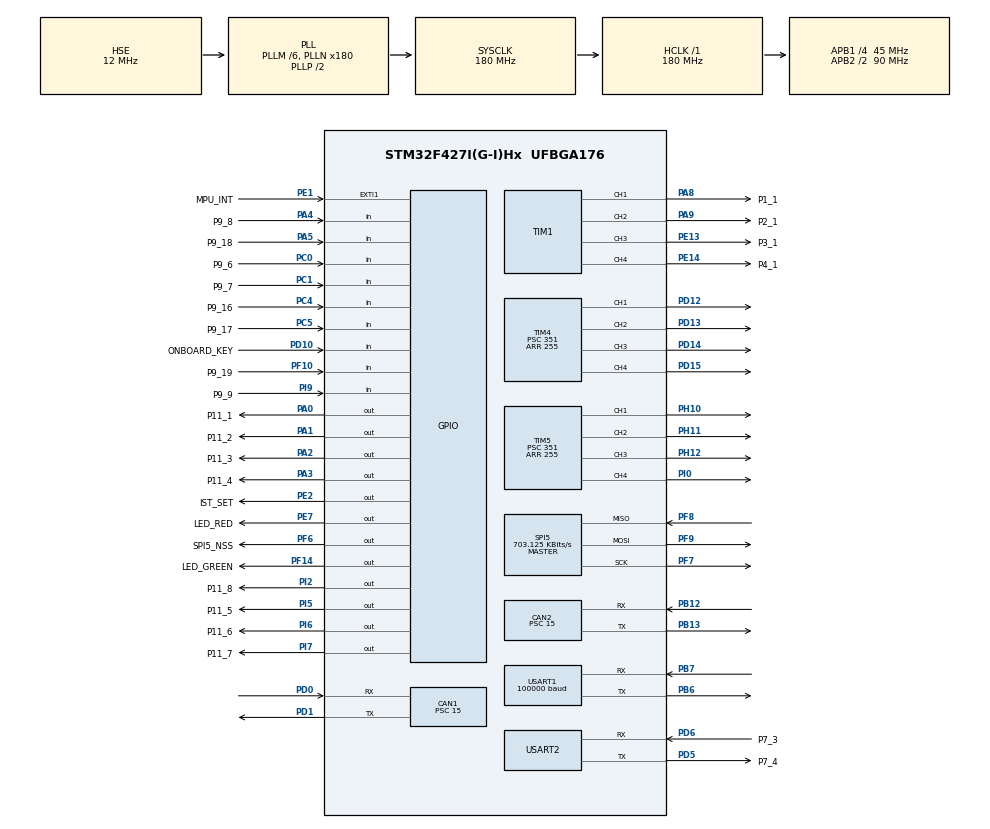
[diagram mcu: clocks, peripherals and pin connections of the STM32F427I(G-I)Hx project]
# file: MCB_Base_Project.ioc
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CAN1.AutoBusOff=ENABLE
CAN1.CalculateTimeBit=1000
CAN1.CalculateTimeQuantum=333.3333333333333
CAN1.Prescaler=15
CAN1.TimeSeg1=CAN_BS1_3TQ
CAN1.TimeSeg2=CAN_BS2_5TQ
CAN1.TransmitFifoPriority=DISABLE
CAN2.AutoBusOff=ENABLE
CAN2.CalculateTimeBit=1000
CAN2.CalculateTimeQuantum=333.3333333333333
CAN2.Prescaler=15
CAN2.TimeSeg1=CAN_BS1_3TQ
CAN2.TimeSeg2=CAN_BS2_5TQ
Dma.Request0=USART2_RX
Dma.Request1=USART1_RX
Dma.Request2=SPI5_RX
Dma.Request3=SPI5_TX
Dma.SPI5_RX.2.Direction=DMA_PERIPH_TO_MEMORY
Dma.SPI5_RX.2.FIFOMode=DMA_FIFOMODE_DISABLE
Dma.SPI5_RX.2.Instance=DMA2_Stream3
Dma.SPI5_RX.2.MemDataAlignment=DMA_MDATAALIGN_BYTE
Dma.SPI5_RX.2.MemInc=DMA_MINC_ENABLE
Dma.SPI5_RX.2.Mode=DMA_NORMAL
Dma.SPI5_RX.2.PeriphDataAlignment=DMA_PDATAALIGN_BYTE
Dma.SPI5_RX.2.PeriphInc=DMA_PINC_DISABLE
Dma.SPI5_RX.2.Priority=DMA_PRIORITY_LOW
Dma.SPI5_TX.3.Direction=DMA_MEMORY_TO_PERIPH
Dma.SPI5_TX.3.FIFOMode=DMA_FIFOMODE_DISABLE
Dma.SPI5_TX.3.Instance=DMA2_Stream4
Dma.SPI5_TX.3.MemDataAlignment=DMA_MDATAALIGN_BYTE
Dma.SPI5_TX.3.MemInc=DMA_MINC_ENABLE
Dma.SPI5_TX.3.Mode=DMA_NORMAL
Dma.SPI5_TX.3.PeriphDataAlignment=DMA_PDATAALIGN_BYTE
Dma.SPI5_TX.3.PeriphInc=DMA_PINC_DISABLE
Dma.SPI5_TX.3.Priority=DMA_PRIORITY_LOW
Dma.USART1_RX.1.Direction=DMA_PERIPH_TO_MEMORY
Dma.USART1_RX.1.FIFOMode=DMA_FIFOMODE_DISABLE
Dma.USART1_RX.1.Instance=DMA2_Stream2
Dma.USART1_RX.1.MemDataAlignment=DMA_MDATAALIGN_BYTE
Dma.USART1_RX.1.MemInc=DMA_MINC_ENABLE
Dma.USART1_RX.1.Mode=DMA_CIRCULAR
Dma.USART1_RX.1.PeriphDataAlignment=DMA_PDATAALIGN_BYTE
Dma.USART1_RX.1.PeriphInc=DMA_PINC_DISABLE
Dma.USART1_RX.1.Priority=DMA_PRIORITY_LOW
Dma.USART2_RX.0.Direction=DMA_PERIPH_TO_MEMORY
Dma.USART2_RX.0.FIFOMode=DMA_FIFOMODE_DISABLE
Dma.USART2_RX.0.Instance=DMA1_Stream5
Dma.USART2_RX.0.MemDataAlignment=DMA_MDATAALIGN_BYTE
Dma.USART2_RX.0.MemInc=DMA_MINC_ENABLE
Dma.USART2_RX.0.Mode=DMA_CIRCULAR
Dma.USART2_RX.0.PeriphDataAlignment=DMA_PDATAALIGN_BYTE
Dma.USART2_RX.0.PeriphInc=DMA_PINC_DISABLE
Dma.USART2_RX.0.Priority=DMA_PRIORITY_LOW
Mcu.Family=STM32F4
Mcu.Name=STM32F427I(G-I)Hx
Mcu.Package=UFBGA176
NVIC.CAN1_RX0_IRQn=true\:0\:0\:false\:false\:true\:true
NVIC.CAN2_RX0_IRQn=true\:0\:0\:false\:false\:true\:true
NVIC.DMA1_Stream5_IRQn=true\:0\:0\:false\:false\:true\:false
NVIC.DMA2_Stream2_IRQn=true\:0\:0\:false\:false\:true\:false
NVIC.DMA2_Stream3_IRQn=true\:0\:0\:false\:false\:true\:false
NVIC.DMA2_Stream4_IRQn=true\:0\:0\:false\:false\:true\:false
NVIC.EXTI1_IRQn=true\:0\:0\:false\:false\:true\:true
NVIC.PriorityGroup=NVIC_PRIORITYGROUP_4
NVIC.TIM6_DAC_IRQn=true\:0\:0\:false\:false\:true\:true
NVIC.USART1_IRQn=true\:0\:0\:false\:false\:true\:true
NVIC.USART2_IRQn=true\:0\:0\:false\:false\:true\:true
PA0/WKUP.GPIO_Label=P11_1
PA0/WKUP.Signal=GPIO_Output
PA1.GPIO_Label=P11_2
PA1.Signal=GPIO_Output
PA2.GPIO_Label=P11_3
PA2.Signal=GPIO_Output
PA3.GPIO_Label=P11_4
PA3.Signal=GPIO_Output
PA4.GPIO_Label=P9_8
PA4.Signal=GPIO_Input
PA5.GPIO_Label=P9_18
PA5.Signal=GPIO_Input
PA8.GPIO_Label=P1_1
PA8.Signal=S_TIM1_CH1
PA9.GPIO_Label=P2_1
PA9.Signal=S_TIM1_CH2
PB12.Mode=Slave
PB12.Signal=CAN2_RX
PB13.Mode=Slave
PB13.Signal=CAN2_TX
PB6.Mode=Asynchronous
PB6.Signal=USART1_TX
PB7.Mode=Asynchronous
PB7.Signal=USART1_RX
PC0.GPIO_Label=P9_6
PC0.Signal=GPIO_Input
PC1.GPIO_Label=P9_7
PC1.Signal=GPIO_Input
PC4.GPIO_Label=P9_16
PC4.Signal=GPIO_Input
PC5.GPIO_Label=P9_17
PC5.Signal=GPIO_Input
PD0.Mode=Master
PD0.Signal=CAN1_RX
PD1.Mode=Master
PD1.Signal=CAN1_TX
PD10.GPIO_Label=ONBOARD_KEY
PD10.Signal=GPIO_Input
PD12.Signal=S_TIM4_CH1
PD13.Signal=S_TIM4_CH2
PD14.Signal=S_TIM4_CH3
PD15.Signal=S_TIM4_CH4
PD5.GPIO_Label=P7_4
PD5.Mode=Asynchronous
PD5.Signal=USART2_TX
PD6.GPIO_Label=P7_3
PD6.Mode=Asynchronous
PD6.Signal=USART2_RX
PE1.GPIO_Label=MPU_INT
PE1.Signal=GPXTI1
PE13.GPIO_Label=P3_1
PE13.Signal=S_TIM1_CH3
PE14.GPIO_Label=P4_1
PE14.Signal=S_TIM1_CH4
PE2.GPIO_Label=IST_SET
PE2.GPIO_PuPd=GPIO_NOPULL
PE2.Signal=GPIO_Output
PE7.GPIO_Label=LED_RED
PE7.Signal=GPIO_Output
PF10.GPIO_Label=P9_19
PF10.Signal=GPIO_Input
PF14.GPIO_Label=LED_GREEN
PF14.Signal=GPIO_Output
PF6.GPIO_Label=SPI5_NSS
PF6.PinState=GPIO_PIN_SET
PF6.Signal=GPIO_Output
PF7.Mode=Full_Duplex_Master
PF7.Signal=SPI5_SCK
PF8.Mode=Full_Duplex_Master
PF8.Signal=SPI5_MISO
PF9.Mode=Full_Duplex_Master
PF9.Signal=SPI5_MOSI
PH0/OSC_IN.Mode=HSE-External-Oscillator
PH0/OSC_IN.Signal=RCC_OSC_IN
PH1/OSC_OUT.Mode=HSE-External-Oscillator
PH1/OSC_OUT.Signal=RCC_OSC_OUT
PH10.Signal=S_TIM5_CH1
PH11.Signal=S_TIM5_CH2
PH12.Signal=S_TIM5_CH3
PI0.Signal=S_TIM5_CH4
PI2.GPIO_Label=P11_8
PI2.Signal=GPIO_Output
PI5.GPIO_Label=P11_5
PI5.Signal=GPIO_Output
PI6.GPIO_Label=P11_6
PI6.Signal=GPIO_Output
PI7.GPIO_Label=P11_7
PI7.Signal=GPIO_Output
PI9.GPIO_Label=P9_9
PI9.Signal=GPIO_Input
ProjectManager.HeapSize=0x200
ProjectManager.StackSize=0x400
ProjectManager.TargetToolchain=MDK-ARM V5
RCC.48MHZClocksFreq_Value=90000000
RCC.AHBFreq_Value=180000000
RCC.APB1CLKDivider=RCC_HCLK_DIV4
RCC.APB1Freq_Value=45000000
RCC.APB1TimFreq_Value=90000000
RCC.APB2CLKDivider=RCC_HCLK_DIV2
RCC.APB2Freq_Value=90000000
RCC.APB2TimFreq_Value=180000000
RCC.CortexFreq_Value=180000000
RCC.HCLKFreq_Value=180000000
RCC.HSE_VALUE=12000000
RCC.HSI_VALUE=16000000
RCC.LSE_VALUE=32768
RCC.PLLM=6
RCC.PLLN=180
RCC.PLLSourceVirtual=RCC_PLLSOURCE_HSE
RCC.SYSCLKFreq_VALUE=180000000
RCC.SYSCLKSource=RCC_SYSCLKSOURCE_PLLCLK
RCC.VCOOutputFreq_Value=360000000
SH.S_TIM1_CH1.0=TIM1_CH1,PWM Generation1 CH1
SH.S_TIM1_CH2.0=TIM1_CH2,PWM Generation2 CH2
SH.S_TIM1_CH3.0=TIM1_CH3,PWM Generation3 CH3
SH.S_TIM1_CH4.0=TIM1_CH4,PWM Generation4 CH4
SH.S_TIM4_CH1.0=TIM4_CH1,PWM Generation1 CH1
SH.S_TIM4_CH2.0=TIM4_CH2,PWM Generation2 CH2
SH.S_TIM4_CH3.0=TIM4_CH3,PWM Generation3 CH3
SH.S_TIM4_CH4.0=TIM4_CH4,PWM Generation4 CH4
SH.S_TIM5_CH1.0=TIM5_CH1,PWM Generation1 CH1
SH.S_TIM5_CH2.0=TIM5_CH2,PWM Generation2 CH2
SH.S_TIM5_CH3.0=TIM5_CH3,PWM Generation3 CH3
SH.S_TIM5_CH4.0=TIM5_CH4,PWM Generation4 CH4
SPI5.BaudRatePrescaler=SPI_BAUDRATEPRESCALER_128
SPI5.CalculateBaudRate=703.125 KBits/s
SPI5.Direction=SPI_DIRECTION_2LINES
SPI5.Mode=SPI_MODE_MASTER
SPI5.VirtualType=VM_MASTER
TIM1.Channel-PWM\ Generation1\ CH1=TIM_CHANNEL_1
TIM1.Channel-PWM\ Generation2\ CH2=TIM_CHANNEL_2
TIM1.Channel-PWM\ Generation3\ CH3=TIM_CHANNEL_3
TIM1.Channel-PWM\ Generation4\ CH4=TIM_CHANNEL_4
TIM4.Channel-PWM\ Generation1\ CH1=TIM_CHANNEL_1
TIM4.Channel-PWM\ Generation2\ CH2=TIM_CHANNEL_2
TIM4.Channel-PWM\ Generation3\ CH3=TIM_CHANNEL_3
TIM4.Channel-PWM\ Generation4\ CH4=TIM_CHANNEL_4
TIM4.CounterMode=TIM_COUNTERMODE_DOWN
TIM4.Period=255
TIM4.Prescaler=351
TIM5.Channel-PWM\ Generation1\ CH1=TIM_CHANNEL_1
TIM5.Channel-PWM\ Generation2\ CH2=TIM_CHANNEL_2
TIM5.Channel-PWM\ Generation3\ CH3=TIM_CHANNEL_3
TIM5.Channel-PWM\ Generation4\ CH4=TIM_CHANNEL_4
TIM5.CounterMode=TIM_COUNTERMODE_DOWN
TIM5.Period=255
TIM5.Prescaler=351
TIM6.Period=25
TIM6.Prescaler=18000
USART1.BaudRate=100000
USART1.Mode=MODE_RX
USART1.Parity=PARITY_EVEN
USART1.VirtualMode=VM_ASYNC
USART2.VirtualMode=VM_ASYNC
VP_TIM1_VS_ClockSourceINT.Mode=Internal
VP_TIM4_VS_ClockSourceINT.Mode=Internal
VP_TIM5_VS_ClockSourceINT.Mode=Internal
VP_TIM6_VS_ClockSourceINT.Mode=Enable_Timer
board=MCB_Base_Project

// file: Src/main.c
/**
  ******************************************************************************
  * @file           : main.c
  * @brief          : Main program body
  ******************************************************************************
  ** This notice applies to any and all portions of this file
  * that are not between comment pairs USER CODE BEGIN and
  * USER CODE END. Other portions of this file, whether
  * inserted by the user or by software development tools
  * are owned by their respective copyright owners.
  *
  * COPYRIGHT(c) 2018 STMicroelectronics
  *
  * Redistribution and use in source and binary forms, with or without modification,
  * are permitted provided that the following conditions are met:
  *   1. Redistributions of source code must retain the above copyright notice,
  *      this list of conditions and the following disclaimer.
  *   2. Redistributions in binary form must reproduce the above copyright notice,
  *      this list of conditions and the following disclaimer in the documentation
  *      and/or other materials provided with the distribution.
  *   3. Neither the name of STMicroelectronics nor the names of its contributors
  *      may be used to endorse or promote products derived from this software
  *      without specific prior written permission.
  *
  * THIS SOFTWARE IS PROVIDED BY THE COPYRIGHT HOLDERS AND CONTRIBUTORS "AS IS"
  * AND ANY EXPRESS OR IMPLIED WARRANTIES, INCLUDING, BUT NOT LIMITED TO, THE
  * IMPLIED WARRANTIES OF MERCHANTABILITY AND FITNESS FOR A PARTICULAR PURPOSE ARE
  * DISCLAIMED. IN NO EVENT SHALL THE COPYRIGHT HOLDER OR CONTRIBUTORS BE LIABLE
  * FOR ANY DIRECT, INDIRECT, INCIDENTAL, SPECIAL, EXEMPLARY, OR CONSEQUENTIAL
  * DAMAGES (INCLUDING, BUT NOT LIMITED TO, PROCUREMENT OF SUBSTITUTE GOODS OR
  * SERVICES; LOSS OF USE, DATA, OR PROFITS; OR BUSINESS INTERRUPTION) HOWEVER
  * CAUSED AND ON ANY THEORY OF LIABILITY, WHETHER IN CONTRACT, STRICT LIABILITY,
  * OR TORT (INCLUDING NEGLIGENCE OR OTHERWISE) ARISING IN ANY WAY OUT OF THE USE
  * OF THIS SOFTWARE, EVEN IF ADVISED OF THE POSSIBILITY OF SUCH DAMAGE.
  *
  ******************************************************************************
  */
#include "main.h"
#include "stm32f4xx_hal.h"
#include "can.h"
#include "dma.h"
#include "spi.h"
#include "tim.h"
#include "usart.h"
#include "gpio.h"

/* USER CODE BEGIN Includes */
#include "dr16.h"
#include "command.h"
#include "serial.h"
#include "remote.h"
#include "drive.h"
#include "gimbal.h"
#include "string.h"
#include "led.h"
#include "imu.h"
#include "turret.h"
#include "chassis.h"
#include "switch.h"
/* USER CODE END Includes */

/* USER CODE BEGIN PV */
/* Private variables ---------------------------------------------------------*/
#define BLINK_DELAY 500
#define PRINT_DELAY 100
#define MSG_LENGTH 100
/* USER CODE END PV */

void SystemClock_Config(void);

/* USER CODE BEGIN PFP */
/* Private function prototypes -----------------------------------------------*/
static void main_init(void);
static void main_debug(uint32_t *lt, uint32_t *lp) __attribute__((unused));
static void main_command(void) __attribute__((unused));
/* USER CODE END PFP */

int main(void)
{

  /* MCU Configuration----------------------------------------------------------*/

  /* Reset of all peripherals, Initializes the Flash interface and the Systick. */
  HAL_Init();

  /* Configure the system clock */
  SystemClock_Config();

  /* Initialize all configured peripherals */
  MX_GPIO_Init();
  MX_DMA_Init();
  MX_USART1_UART_Init();
  MX_USART2_UART_Init();
  MX_CAN1_Init();
  MX_CAN2_Init();
  MX_TIM6_Init();
  MX_SPI5_Init();
  MX_TIM4_Init();
  MX_TIM5_Init();
  MX_TIM1_Init();
  /* USER CODE BEGIN 2 */
  led_green_off();
  // Initialize backend subsystems
  led_red_on();
  main_init();
  led_red_off();
  HAL_Delay(1000);
  uint32_t last_time = HAL_GetTick();
  uint32_t last_print = HAL_GetTick();

  /* USER CODE END 2 */

  /* Infinite loop */
  /* USER CODE BEGIN WHILE */

  while (1)
  {
    main_debug(&last_time, &last_print);
    /*
    led_red_toggle();
    HAL_Delay(500);
    */
  /* USER CODE END WHILE */

  }

}

void SystemClock_Config(void)
{

  RCC_OscInitTypeDef RCC_OscInitStruct;
  RCC_ClkInitTypeDef RCC_ClkInitStruct;

    /**Configure the main internal regulator output voltage
    */
  __HAL_RCC_PWR_CLK_ENABLE();

  __HAL_PWR_VOLTAGESCALING_CONFIG(PWR_REGULATOR_VOLTAGE_SCALE1);

    /**Initializes the CPU, AHB and APB busses clocks
    */
  RCC_OscInitStruct.OscillatorType = RCC_OSCILLATORTYPE_HSE;
  RCC_OscInitStruct.HSEState = RCC_HSE_ON;
  RCC_OscInitStruct.PLL.PLLState = RCC_PLL_ON;
  RCC_OscInitStruct.PLL.PLLSource = RCC_PLLSOURCE_HSE;
  RCC_OscInitStruct.PLL.PLLM = 6;
  RCC_OscInitStruct.PLL.PLLN = 180;
  RCC_OscInitStruct.PLL.PLLP = RCC_PLLP_DIV2;
  RCC_OscInitStruct.PLL.PLLQ = 4;
  if (HAL_RCC_OscConfig(&RCC_OscInitStruct) != HAL_OK)
  {
    _Error_Handler(__FILE__, __LINE__);
  }

    /**Activate the Over-Drive mode
    */
  if (HAL_PWREx_EnableOverDrive() != HAL_OK)
  {
    _Error_Handler(__FILE__, __LINE__);
  }

    /**Initializes the CPU, AHB and APB busses clocks
    */
  RCC_ClkInitStruct.ClockType = RCC_CLOCKTYPE_HCLK|RCC_CLOCKTYPE_SYSCLK
                              |RCC_CLOCKTYPE_PCLK1|RCC_CLOCKTYPE_PCLK2;
  RCC_ClkInitStruct.SYSCLKSource = RCC_SYSCLKSOURCE_PLLCLK;
  RCC_ClkInitStruct.AHBCLKDivider = RCC_SYSCLK_DIV1;
  RCC_ClkInitStruct.APB1CLKDivider = RCC_HCLK_DIV4;
  RCC_ClkInitStruct.APB2CLKDivider = RCC_HCLK_DIV2;

  if (HAL_RCC_ClockConfig(&RCC_ClkInitStruct, FLASH_LATENCY_5) != HAL_OK)
  {
    _Error_Handler(__FILE__, __LINE__);
  }

    /**Configure the Systick interrupt time
    */
  HAL_SYSTICK_Config(HAL_RCC_GetHCLKFreq()/1000);

    /**Configure the Systick
    */
  HAL_SYSTICK_CLKSourceConfig(SYSTICK_CLKSOURCE_HCLK);

  /* SysTick_IRQn interrupt configuration */
  HAL_NVIC_SetPriority(SysTick_IRQn, 0, 0);
}

/* USER CODE BEGIN 4 */

static void main_init() {
  // clear motor info structs
  drive_init();
  gimbal_init();
  turret_init();
  chassis_init();
  // begin data collection
  can_handle_init(&hcan1);
  can_handle_init(&hcan2);
  dr16_dma_init(&huart1);
  imu_init();
  // Start main task
  tim_start_task(&htim6);
}

static void main_debug(uint32_t *lt, uint32_t *lp) {
  char msg[MSG_LENGTH];
  if (HAL_GetTick() - *lt >= BLINK_DELAY) {
    led_red_toggle();
    *lt = HAL_GetTick();
  }
  if (HAL_GetTick() - *lp >= PRINT_DELAY) {
    //sprintf(msg, "can2 enc: %u\n", drive_get_motor_info(DRIVE_MOTOR_CAN2_201)->enc);
    //serial_print(msg, SERIAL_TX);
    //serial_wait_ready();
   /* sprintf(msg, "pitch enc:%u pitch torque:%d ", gimbal_get_motor_info(GIMBAL_MOTOR_CAN1_206)->enc,
      gimbal_get_motor_info(GIMBAL_MOTOR_CAN1_206)->torque_actual);
    serial_print(msg, SERIAL_TX);
    serial_wait_ready();
    sprintf(msg, "yaw enc:%u yaw torque:%d ", gimbal_get_motor_info(GIMBAL_MOTOR_CAN1_205)->enc,
    gimbal_get_motor_info(GIMBAL_MOTOR_CAN1_205)->torque_actual);
    serial_print(msg, SERIAL_TX);
    serial_wait_ready();
    sprintf(msg, "imu ax:%d ay:%d az:%d ", imu_get_imu()->ax, imu_get_imu()->ay, imu_get_imu()->az);
    serial_print(msg, SERIAL_TX);
    serial_wait_ready();
    sprintf(msg, "remote count:%d\n", dr16_get_remote()->update_counter);
    */

    serial_print_remote_info_t(dr16_get_remote());
    *lp = HAL_GetTick();
  }
}

static void main_command() {
  serial_print("> ", SERIAL_RX);
  while (serial_get_mode() != SERIAL_TX) {
    HAL_Delay(1);
  }
  serial_do_command();
}
/* USER CODE END 4 */

void _Error_Handler(char *file, int line)
{
  while(1)
  {
  }
}

/************************ (C) COPYRIGHT STMicroelectronics *****END OF FILE****/
